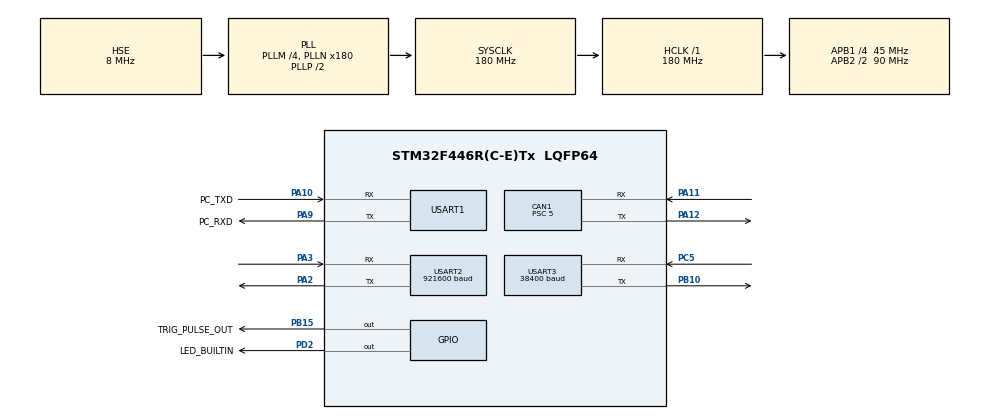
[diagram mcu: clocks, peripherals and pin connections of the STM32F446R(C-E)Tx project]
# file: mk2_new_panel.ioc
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CAN1.BS1=CAN_BS1_15TQ
CAN1.BS2=CAN_BS2_2TQ
CAN1.CalculateBaudRate=500000
CAN1.CalculateTimeBit=2000
CAN1.CalculateTimeQuantum=111.11111111111111
CAN1.Prescaler=5
Dma.Request0=USART1_RX
Dma.Request1=USART3_RX
Dma.USART1_RX.0.Direction=DMA_PERIPH_TO_MEMORY
Dma.USART1_RX.0.FIFOMode=DMA_FIFOMODE_DISABLE
Dma.USART1_RX.0.Instance=DMA2_Stream2
Dma.USART1_RX.0.MemDataAlignment=DMA_MDATAALIGN_BYTE
Dma.USART1_RX.0.MemInc=DMA_MINC_ENABLE
Dma.USART1_RX.0.Mode=DMA_NORMAL
Dma.USART1_RX.0.PeriphDataAlignment=DMA_PDATAALIGN_BYTE
Dma.USART1_RX.0.PeriphInc=DMA_PINC_DISABLE
Dma.USART1_RX.0.Priority=DMA_PRIORITY_LOW
Dma.USART3_RX.1.Direction=DMA_PERIPH_TO_MEMORY
Dma.USART3_RX.1.FIFOMode=DMA_FIFOMODE_DISABLE
Dma.USART3_RX.1.Instance=DMA1_Stream1
Dma.USART3_RX.1.MemDataAlignment=DMA_MDATAALIGN_BYTE
Dma.USART3_RX.1.MemInc=DMA_MINC_ENABLE
Dma.USART3_RX.1.Mode=DMA_NORMAL
Dma.USART3_RX.1.PeriphDataAlignment=DMA_PDATAALIGN_BYTE
Dma.USART3_RX.1.PeriphInc=DMA_PINC_DISABLE
Dma.USART3_RX.1.Priority=DMA_PRIORITY_LOW
Mcu.Family=STM32F4
Mcu.Name=STM32F446R(C-E)Tx
Mcu.Package=LQFP64
NVIC.CAN1_RX0_IRQn=true\:0\:0\:false\:false\:true\:true\:true
NVIC.DMA1_Stream1_IRQn=true\:0\:0\:false\:false\:true\:false\:true
NVIC.DMA2_Stream2_IRQn=true\:0\:0\:false\:false\:true\:false\:true
NVIC.PriorityGroup=NVIC_PRIORITYGROUP_4
NVIC.USART1_IRQn=true\:0\:0\:false\:false\:true\:true\:true
NVIC.USART2_IRQn=true\:0\:0\:false\:false\:true\:true\:true
NVIC.USART3_IRQn=true\:0\:0\:false\:false\:true\:true\:true
PA10.GPIO_Label=PC_TXD
PA10.GPIO_PuPd=GPIO_PULLUP
PA10.Mode=Asynchronous
PA10.Signal=USART1_RX
PA11.Mode=CAN_Activate
PA11.Signal=CAN1_RX
PA12.Mode=CAN_Activate
PA12.Signal=CAN1_TX
PA13.Mode=Serial_Wire
PA13.Signal=SYS_JTMS-SWDIO
PA14.Mode=Serial_Wire
PA14.Signal=SYS_JTCK-SWCLK
PA2.Mode=Asynchronous
PA2.Signal=USART2_TX
PA3.GPIO_PuPd=GPIO_PULLUP
PA3.Mode=Asynchronous
PA3.Signal=USART2_RX
PA9.GPIO_Label=PC_RXD
PA9.Mode=Asynchronous
PA9.Signal=USART1_TX
PB10.Mode=Asynchronous
PB10.Signal=USART3_TX
PB15.GPIO_Label=TRIG_PULSE_OUT
PB15.Signal=GPIO_Output
PC5.GPIO_PuPd=GPIO_PULLUP
PC5.Mode=Asynchronous
PC5.Signal=USART3_RX
PD2.GPIO_Label=LED_BUILTIN
PD2.GPIO_Speed=GPIO_SPEED_FREQ_VERY_HIGH
PD2.PinState=GPIO_PIN_SET
PD2.Signal=GPIO_Output
PH0-OSC_IN.Mode=HSE-External-Oscillator
PH0-OSC_IN.Signal=RCC_OSC_IN
PH1-OSC_OUT.Mode=HSE-External-Oscillator
PH1-OSC_OUT.Signal=RCC_OSC_OUT
ProjectManager.HeapSize=0x200
ProjectManager.StackSize=0x400
ProjectManager.TargetToolchain=STM32CubeIDE
RCC.AHBFreq_Value=180000000
RCC.APB1CLKDivider=RCC_HCLK_DIV4
RCC.APB1Freq_Value=45000000
RCC.APB1TimFreq_Value=90000000
RCC.APB2CLKDivider=RCC_HCLK_DIV2
RCC.APB2Freq_Value=90000000
RCC.APB2TimFreq_Value=180000000
RCC.CortexFreq_Value=180000000
RCC.HCLKFreq_Value=180000000
RCC.HSE_VALUE=8000000
RCC.PLLM=4
RCC.PLLN=180
RCC.PLLSourceVirtual=RCC_PLLSOURCE_HSE
RCC.SYSCLKFreq_VALUE=180000000
RCC.SYSCLKSource=RCC_SYSCLKSOURCE_PLLCLK
RCC.USBFreq_Value=180000000
RCC.VCOOutputFreq_Value=360000000
USART1.VirtualMode=VM_ASYNC
USART2.BaudRate=921600
USART2.VirtualMode=VM_ASYNC
USART3.BaudRate=38400
USART3.VirtualMode=VM_ASYNC
board=custom

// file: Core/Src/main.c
/* USER CODE BEGIN Header */
/**
 ******************************************************************************
 * @file           : main.c
 * @brief          : Main program body
 ******************************************************************************
 * @attention
 *
 * Copyright (c) 2022 STMicroelectronics.
 * All rights reserved.
 *
 * This software is licensed under terms that can be found in the LICENSE file
 * in the root directory of this software component.
 * If no LICENSE file comes with this software, it is provided AS-IS.
 *
 ******************************************************************************
 */
/* USER CODE END Header */
#include "main.h"
#include "can.h"
#include "dma.h"
#include "usart.h"
#include "gpio.h"

/* USER CODE BEGIN Includes */
#include <stdio.h>
#include <stdbool.h>
#include <string.h>
#include <stdlib.h>

#include "rwsCanID.h"
/* USER CODE END Includes */

/* USER CODE BEGIN PTD */
typedef struct
{
	uint32_t id;
//	volatile bool state;
	uint8_t counter;
	uint8_t data[8];
	uint8_t size;
	uint8_t online;
} TCanRecvBuffer;

typedef struct
{
	uint32_t id;
	uint8_t data[8];
	uint8_t size;
} TCanSendBuffer;

typedef struct
{
	uint8_t id;
	uint8_t dtab;
	int azimuth;	// scale -1000 to +1000
	int elevation;	// scale -1000 to +1000
} Joystick_t;

typedef struct
{
	uint8_t id;
	int16_t dx;
	int16_t dy;
} Track_Target_t;

typedef struct
{
	uint8_t state;
	Track_Target_t target[5];
} Track_t;

/* USER CODE END PTD */

/* USER CODE BEGIN PD */
#define LOG(str, ...) printf("[%ld %s:%d] " str, HAL_GetTick(), __FILENAME__, __LINE__, ##__VA_ARGS__)
#define LOG_E(str, ...) printf("[%s Err:%d] " str,  __FILENAME__,__LINE__, ##__VA_ARGS__)

#define PC_MAX_BUFSIZE		512
#define BUTTON_MAX_BUFSIZE	256
/* USER CODE END PD */

/* USER CODE BEGIN PV */

uint8_t pc_dma_buf[PC_MAX_BUFSIZE];
char in_pc_buf[PC_MAX_BUFSIZE];
bool in_pc_updated = false;

uint8_t button_dma_buf[BUTTON_MAX_BUFSIZE];
char in_button_buf[BUTTON_MAX_BUFSIZE];
bool in_button_updated = false;

TCanRecvBuffer canRecvMotorState = { CAN_ID_RWS_MOTOR, 0, { 0 }, 6, 0 };
TCanRecvBuffer canRecvMotorAngle = { CAN_ID_RWS_MTR_STAB_ANGLE, 0, { 0 }, 8, 0 };
//TCanRecvBuffer canRecvMotorSpeed = { CAN_ID_RWS_MTR_STAB_SPD, 0, { 0 }, 8, 0 };
TCanRecvBuffer canRecvOptLrf = { CAN_ID_RWS_OPT_LRF, 0, { 0 }, 3, 0 };
TCanRecvBuffer canRecvOptCam = { CAN_ID_RWS_OPT_CAM, 0, { 0 }, 1, 0 };
TCanRecvBuffer canRecvPlatformYPR = { CAN_ID_RWS_PLAT_YPR_SLOW, 0, { 0 }, 8, 0 };

TCanSendBuffer canSendButton = { CAN_ID_RWS_BUTTON, { 0 }, 3 };
TCanSendBuffer canSendMotorMode = { CAN_ID_RWS_PNL_MTR_MODE, { 0 }, 1 };
TCanSendBuffer canSendMotorManual = { CAN_ID_RWS_PNL_MTR_CORR_MAN, { 0 }, 8 };
TCanSendBuffer canSendMotorStab = { CAN_ID_RWS_PNL_MTR_CORR_STB, { 0 }, 8 };
TCanSendBuffer canSendMotorTrack = { CAN_ID_RWS_PNL_MTR_CORR_TRK, { 0 }, 8 };

CAN_TxHeaderTypeDef can1TxHeader;
uint32_t can1TxMailBox;

Joystick_t jRight = { 0, 0, 0, 0 };
Joystick_t jLeft = { 1, 0, 0, 0 };

//uint8_t track_state = 0;
Track_t track;

/* USER CODE END PV */

void SystemClock_Config(void);
/* USER CODE BEGIN PFP */
static void CAN_Config();
static void bus_init();
static void bus_handler();
static void pc_init();
static void pc_handler();
static void button_init();
static void button_handler();
/* USER CODE END PFP */

int main(void)
{

	/* MCU Configuration--------------------------------------------------------*/

	/* Reset of all peripherals, Initializes the Flash interface and the Systick. */
	HAL_Init();

	/* Configure the system clock */
	SystemClock_Config();

	/* Initialize all configured peripherals */
	MX_GPIO_Init();
	MX_DMA_Init();
	MX_CAN1_Init();
	MX_USART1_UART_Init();
	MX_USART2_UART_Init();
	MX_USART3_UART_Init();
	/* USER CODE BEGIN 2 */
	/* TODO init */

	retarget_init(&huart2);
	LOG("panel init\r\n");

	bus_init();
	button_init();
	pc_init();

	/* USER CODE END 2 */

	/* Infinite loop */
	/* USER CODE BEGIN WHILE */
	uint32_t ledTimer = 0;
	while (1) {
		/* USER CODE END WHILE */

		/* USER CODE BEGIN 3 */
		/* TODO begin loop */
		bus_handler();
		pc_handler();
		button_handler();

		if (HAL_GetTick() >= ledTimer) {
			ledTimer = HAL_GetTick() + 1000;

			HAL_GPIO_TogglePin(LED_BUILTIN_GPIO_Port, LED_BUILTIN_Pin);
//			LOG("led=%d\r\n", HAL_GPIO_ReadPin(LED_BUILTIN_GPIO_Port, LED_BUILTIN_Pin));
		}

	}
	/* USER CODE END 3 */
}

void SystemClock_Config(void)
{
	RCC_OscInitTypeDef RCC_OscInitStruct = { 0 };
	RCC_ClkInitTypeDef RCC_ClkInitStruct = { 0 };

	/** Configure the main internal regulator output voltage
	 */
	__HAL_RCC_PWR_CLK_ENABLE();
	__HAL_PWR_VOLTAGESCALING_CONFIG(PWR_REGULATOR_VOLTAGE_SCALE1);
	/** Initializes the RCC Oscillators according to the specified parameters
	 * in the RCC_OscInitTypeDef structure.
	 */
	RCC_OscInitStruct.OscillatorType = RCC_OSCILLATORTYPE_HSE;
	RCC_OscInitStruct.HSEState = RCC_HSE_ON;
	RCC_OscInitStruct.PLL.PLLState = RCC_PLL_ON;
	RCC_OscInitStruct.PLL.PLLSource = RCC_PLLSOURCE_HSE;
	RCC_OscInitStruct.PLL.PLLM = 4;
	RCC_OscInitStruct.PLL.PLLN = 180;
	RCC_OscInitStruct.PLL.PLLP = RCC_PLLP_DIV2;
	RCC_OscInitStruct.PLL.PLLQ = 2;
	RCC_OscInitStruct.PLL.PLLR = 2;
	if (HAL_RCC_OscConfig(&RCC_OscInitStruct) != HAL_OK) {
		Error_Handler();
	}
	/** Activate the Over-Drive mode
	 */
	if (HAL_PWREx_EnableOverDrive() != HAL_OK) {
		Error_Handler();
	}
	/** Initializes the CPU, AHB and APB buses clocks
	 */
	RCC_ClkInitStruct.ClockType = RCC_CLOCKTYPE_HCLK | RCC_CLOCKTYPE_SYSCLK | RCC_CLOCKTYPE_PCLK1
			| RCC_CLOCKTYPE_PCLK2;
	RCC_ClkInitStruct.SYSCLKSource = RCC_SYSCLKSOURCE_PLLCLK;
	RCC_ClkInitStruct.AHBCLKDivider = RCC_SYSCLK_DIV1;
	RCC_ClkInitStruct.APB1CLKDivider = RCC_HCLK_DIV4;
	RCC_ClkInitStruct.APB2CLKDivider = RCC_HCLK_DIV2;

	if (HAL_RCC_ClockConfig(&RCC_ClkInitStruct, FLASH_LATENCY_5) != HAL_OK) {
		Error_Handler();
	}
}

/* USER CODE BEGIN 4 */
/* TODO user functions */

static char** str_split(char *a_str, const char a_delim)
{
	char **result = 0;
	size_t count = 0;
	char *tmp = a_str;
	char *last_comma = 0;
	char delim[2];
	delim[0] = a_delim;
	delim[1] = 0;

	/* Count how many elements will be extracted. */
	while (*tmp) {
		if (a_delim == *tmp) {
			count++;
			last_comma = tmp;
		}
		tmp++;
	}

	/* Add space for trailing token. */
	count += last_comma < (a_str + strlen(a_str) - 1);

	/* Add space for terminating null string so caller
	 knows where the list of returned strings ends. */
	count++;

	result = malloc(sizeof(char*) * count);

	if (result) {
		size_t idx = 0;
		char *token = strtok(a_str, delim);

		while (token) {
			assert(idx < count);
			*(result + idx++) = strdup(token);
			token = strtok(0, delim);
		}
		assert(idx == count - 1);
		*(result + idx) = 0;
	}

	return result;
}

static void bus_init()
{
	CAN_Config();

}

static void bus_handler()
{
	static uint8_t imu_counter = 0;
	static uint32_t imu_timer = 0;
	static uint32_t imu_increment = 0;
	uint32_t u32;

	static uint32_t motor_mode_timer = 0;

	if (imu_counter != canRecvPlatformYPR.counter) {
		imu_counter = canRecvPlatformYPR.counter;

		imu_increment++;
	}

	if (HAL_GetTick() >= imu_timer) {
		imu_timer = HAL_GetTick() + 1000;

		u32 = imu_increment;
		imu_increment = 0;
		LOG("imu = %ld/s\r\n", u32);
	}

	if (HAL_GetTick() >= motor_mode_timer) {
//		motor_mode_timer=HAL_GetTick()+100;

		/* send can */
		can1TxHeader.StdId = canSendMotorMode.id;
		can1TxHeader.DLC = canSendMotorMode.size;
		if (HAL_CAN_AddTxMessage(&hcan1, &can1TxHeader, canSendMotorMode.data, &can1TxMailBox)
				== HAL_OK)
			motor_mode_timer = HAL_GetTick() + 100;
		else
			motor_mode_timer = HAL_GetTick() + 1;
	}
}

static void pc_init()
{
	memset(pc_dma_buf, 0, PC_MAX_BUFSIZE);

	HAL_UARTEx_ReceiveToIdle_DMA(&huart1, pc_dma_buf, PC_MAX_BUFSIZE);
	__HAL_DMA_DISABLE_IT(huart1.hdmarx, DMA_IT_HT);
}

static void pc_handler()
{
	if (in_pc_updated) {
		in_pc_updated = false;

//		LOG("%s\r\n", in_pc_buf);

		uint8_t _id;
		char *s;
		char **tokens;

		s = strstr(in_button_buf, "$TRKUD,");
		if (s) {
			tokens = str_split(in_button_buf, ',');
			if (tokens) {
				for ( int i = 0; *(tokens + i); i++ ) {
					s = *(tokens + i);

					if (i == 1) {
						_id = atoi(s);
						if (_id >= 5)
							_id = 4;
					}
					else if (i == 2)
						track.target[_id].dx = atoi(s);
					else if (i == 3)
						track.target[_id].dy = atoi(s);

					free(*(tokens + i));
				}
				free(tokens);
			}
		}

	}
}

static void button_init()
{
	memset(button_dma_buf, 0, BUTTON_MAX_BUFSIZE);

	HAL_UARTEx_ReceiveToIdle_DMA(&huart3, button_dma_buf, BUTTON_MAX_BUFSIZE);
	__HAL_DMA_DISABLE_IT(huart3.hdmarx, DMA_IT_HT);
}

static void button_handler()
{
	uint32_t _btnState = 0;
	bool _btnReady = false;
//	int16_t _i16;
//	const float alphaRight = 0.5;
//	const float alphaLeft = 0.5;
//	static int jsRight[2] = { 0, 0 };
//	static int jsLeft[2] = { 0, 0 };
	static uint8_t R_dtab = 0;
	static uint8_t L_dtab = 0;

	if (in_button_updated) {
		in_button_updated = false;

//		LOG("%s\r\n", in_button_buf);

		char *s;
		char **tokens;

		s = strstr(in_button_buf, "$BTN,");
		if (s) {
			tokens = str_split(in_button_buf, ',');
			if (tokens) {
				for ( int i = 0; *(tokens + i); i++ ) {
					s = *(tokens + i);

					switch (i)
					{
					case 1:
						_btnState = atoi(s);
						_btnReady = true;
						break;
					case 2:
						jRight.dtab = atoi(s);
						break;
					case 3:
					case 4:
						break;
					case 5:
						jLeft.dtab = atoi(s);
						break;
					case 6:
					case 7:
						break;
					}
					free(*(tokens + i));
				}
				free(tokens);
			}

//			if(_btnReady){
//				/* CAMERA SELECT
//				 * 0: sony
//				 * 1: thermal
//				 */
//				bitWrite(canSendButton.data[1], 0, bitRead(_btnState,12));
//
//			}

			if (jLeft.dtab != L_dtab) {
				L_dtab = jLeft.dtab;

				if ((L_dtab & 0b1000) != 0) {
					if (track.state == 0) {
						track.state = 1;
						canSendMotorMode.data[0] = 0b11;
						LOG("track ON\r\n");
					}
					else {
						track.state = 0;
						canSendMotorMode.data[0] = 0;
						LOG("track OFF\r\n");
					}
				}
			}

		}
	}
}

/* TODO hardware-related */
static void CAN_Config()
{
	CAN_FilterTypeDef sFilterConfig;

	/*##-2- Configure the CAN Filter ###########################################*/

	/* filter can id = CAN_ID_RWS_MOTOR= 0x300 - 0x30F */
	sFilterConfig.FilterBank = 0;
	sFilterConfig.FilterMode = CAN_FILTERMODE_IDMASK;
	sFilterConfig.FilterScale = CAN_FILTERSCALE_32BIT;
	sFilterConfig.FilterIdHigh = (0x300 << 5);
	sFilterConfig.FilterIdLow = 0;
	sFilterConfig.FilterMaskIdHigh = (0x7F0 << 5);
	sFilterConfig.FilterMaskIdLow = 0;
	sFilterConfig.FilterFIFOAssignment = CAN_RX_FIFO0;
	sFilterConfig.FilterActivation = ENABLE;
	sFilterConfig.SlaveStartFilterBank = 14;

	if (HAL_CAN_ConfigFilter(&hcan1, &sFilterConfig) != HAL_OK) {
		/* filter configuration error */
		Error_Handler();
	}

	/* filter can id = CAN_ID_RWS_OPT_x= 0x330 - 0x33F */
	sFilterConfig.FilterBank = 1;
	sFilterConfig.FilterMode = CAN_FILTERMODE_IDMASK;
	sFilterConfig.FilterScale = CAN_FILTERSCALE_32BIT;
	sFilterConfig.FilterIdHigh = (0x330 << 5);
	sFilterConfig.FilterIdLow = 0;
	sFilterConfig.FilterMaskIdHigh = (0x7F0 << 5);
	sFilterConfig.FilterMaskIdLow = 0;
	sFilterConfig.FilterFIFOAssignment = CAN_RX_FIFO0;
	sFilterConfig.FilterActivation = ENABLE;
	sFilterConfig.SlaveStartFilterBank = 14;

	if (HAL_CAN_ConfigFilter(&hcan1, &sFilterConfig) != HAL_OK) {
		/* filter configuration error */
		Error_Handler();
	}

	/* filter can id = CAN_ID_RWS_STAB_YPR */
	sFilterConfig.FilterBank = 2;
	sFilterConfig.FilterMode = CAN_FILTERMODE_IDMASK;
	sFilterConfig.FilterScale = CAN_FILTERSCALE_32BIT;
	sFilterConfig.FilterIdHigh = (canRecvPlatformYPR.id << 5);
	sFilterConfig.FilterIdLow = 0;
	sFilterConfig.FilterMaskIdHigh = (canRecvPlatformYPR.id << 5);
	sFilterConfig.FilterMaskIdLow = 0;
	sFilterConfig.FilterFIFOAssignment = CAN_RX_FIFO0;
	sFilterConfig.FilterActivation = ENABLE;
	sFilterConfig.SlaveStartFilterBank = 14;

	if (HAL_CAN_ConfigFilter(&hcan1, &sFilterConfig) != HAL_OK) {
		/* filter configuration error */
		Error_Handler();
	}

	/*##-3- Start the CAN peripheral ###########################################*/
	if (HAL_CAN_Start(&hcan1) != HAL_OK) {
		/* Start Error */
		Error_Handler();
	}

	/*##-4- Activate CAN RX notification #######################################*/
	if (HAL_CAN_ActivateNotification(&hcan1, CAN_IT_RX_FIFO0_MSG_PENDING) != HAL_OK) {
		__HAL_CAN_ENABLE_IT(&hcan1, CAN_IT_RX_FIFO0_MSG_PENDING);
	}

	/*##-5- Configure Transmission process #####################################*/
	can1TxHeader.StdId = 0x123;
	can1TxHeader.ExtId = 0x01;
	can1TxHeader.RTR = CAN_RTR_DATA;
	can1TxHeader.IDE = CAN_ID_STD;
	can1TxHeader.DLC = 8;
	can1TxHeader.TransmitGlobalTime = DISABLE;

#if USE_CAN2
	/*##-2- Configure the CAN Filter ###########################################*/
	sFilterConfig.FilterBank = 14;
	sFilterConfig.FilterMode = CAN_FILTERMODE_IDMASK;
	sFilterConfig.FilterScale = CAN_FILTERSCALE_16BIT;
	sFilterConfig.FilterIdHigh = (0x100 << 5);
	sFilterConfig.FilterIdLow = (0x100 << 5);
	sFilterConfig.FilterMaskIdHigh = (0x700 << 5);
	sFilterConfig.FilterMaskIdLow = (0x700 << 5);
	sFilterConfig.FilterFIFOAssignment = CAN_RX_FIFO1;
	sFilterConfig.FilterActivation = ENABLE;
	sFilterConfig.SlaveStartFilterBank = 14;

	if (HAL_CAN_ConfigFilter(&hcan2, &sFilterConfig) != HAL_OK) {
		/* filter configuration error */
		Error_Handler();
	}

	/*##-3- Start the CAN peripheral ###########################################*/
	if (HAL_CAN_Start(&hcan2) != HAL_OK) {
		/* Start Error */
		Error_Handler();
	}

	/*##-4- Activate CAN RX notification #######################################*/
	if (HAL_CAN_ActivateNotification(&hcan2, CAN_IT_RX_FIFO1_MSG_PENDING) != HAL_OK) {
		/* Notification Error */
		Error_Handler();
	}

	/*##-5- Configure Transmission process #####################################*/
	can2TxHeader.StdId = 0x21;
	can2TxHeader.ExtId = 0x01;
	can2TxHeader.RTR = CAN_RTR_DATA;
	can2TxHeader.IDE = CAN_ID_STD;
	can2TxHeader.DLC = CAN_BUFSIZE;
	can2TxHeader.TransmitGlobalTime = DISABLE;

#endif	//if USE_CAN2

}

void HAL_UARTEx_RxEventCallback(UART_HandleTypeDef *huart, uint16_t Size)
{
	uint8_t *buf;
	uint16_t bufsize = 0;

	if (huart->Instance == USART1) {
		memcpy(in_pc_buf, pc_dma_buf, PC_MAX_BUFSIZE);
		memset(pc_dma_buf, 0, PC_MAX_BUFSIZE);
		in_pc_updated = true;

		buf = pc_dma_buf;
		bufsize = PC_MAX_BUFSIZE;
	}
	else if (huart->Instance == USART3) {
		memcpy(in_button_buf, button_dma_buf, BUTTON_MAX_BUFSIZE);
		memset(button_dma_buf, 0, BUTTON_MAX_BUFSIZE);
		in_button_updated = true;

		buf = button_dma_buf;
		bufsize = BUTTON_MAX_BUFSIZE;
	}

	/* start the DMA again */
	HAL_UARTEx_ReceiveToIdle_DMA(huart, buf, bufsize);
	__HAL_DMA_DISABLE_IT(huart->hdmarx, DMA_IT_HT);
}

/**
 * @brief  Rx Fifo 0 message pending callback
 * @param  hcan: pointer to a CAN_HandleTypeDef structure that contains
 *         the configuration information for the specified CAN.
 * @retval None
 */
void HAL_CAN_RxFifo0MsgPendingCallback(CAN_HandleTypeDef *hcan)
{
	uint32_t _id = 0;
	CAN_RxHeaderTypeDef can1RxHeader;
	uint8_t can1RxBuffer[8];

	if (HAL_CAN_GetRxMessage(hcan, CAN_RX_FIFO0, &can1RxHeader, can1RxBuffer) == HAL_OK) {
		_id = can1RxHeader.StdId;
		if (_id == canRecvOptCam.id) {
			canRecvOptCam.counter++;
			memcpy(canRecvOptCam.data, can1RxBuffer, canRecvOptCam.size);
		}
		else if (_id == canRecvOptLrf.id) {
			canRecvOptLrf.counter++;
			memcpy(canRecvOptLrf.data, can1RxBuffer, canRecvOptLrf.size);
		}
		else if (_id == canRecvMotorState.id) {
			canRecvMotorState.counter++;
			memcpy(canRecvMotorState.data, can1RxBuffer, canRecvMotorState.size);
		}
		else if (_id == canRecvMotorAngle.id) {
			canRecvMotorAngle.counter++;
			memcpy(canRecvMotorAngle.data, can1RxBuffer, canRecvMotorAngle.size);
		}
		else if (_id == canRecvPlatformYPR.id) {
			canRecvPlatformYPR.counter++;
			memcpy(canRecvPlatformYPR.data, can1RxBuffer, canRecvPlatformYPR.size);
		}
	}
}
/* USER CODE END 4 */

void Error_Handler(void)
{
	__disable_irq();
	while (1) {
	}
}
